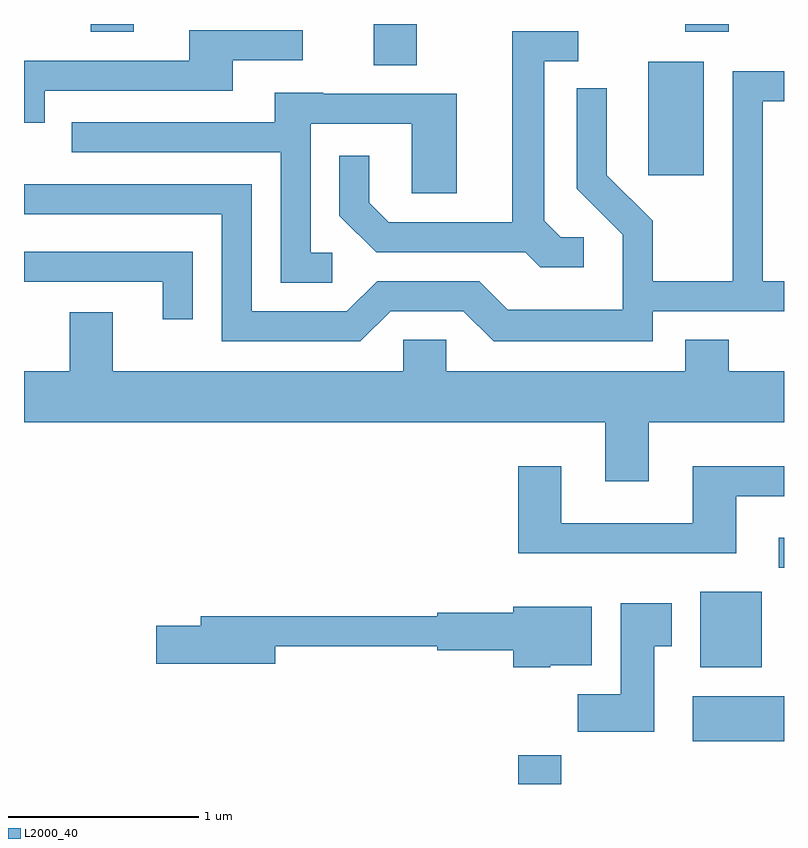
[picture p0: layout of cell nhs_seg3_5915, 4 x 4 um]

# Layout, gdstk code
import gdstk
lib = gdstk.Library(unit=1e-6, precision=1e-09)
def R(c, l, rs):  # rectangles x0, y0, x1, y1
    for r in rs: c.add(gdstk.rectangle(r[:2], r[2:], *l))
def P(c, l, *ps):  # polygons
    for p in ps: c.add(gdstk.Polygon(p, *l))
L2000_40 = (2000, 40)

nhs_seg3_5915 = lib.new_cell('nhs_seg3_5915')
R(nhs_seg3_5915, L2000_40, [(362.211,1121.892,362.439,1122.044), (363.131,1122.116,363.611,1122.354), (363.171,1122.506,363.494,1122.904), (363.583,1123.031,363.611,1123.189), (362.896,1125.096,363.189,1125.694), (361.451,1125.676,361.679,1125.892), (359.961,1125.851,360.189,1125.892), (363.091,1125.851,363.319,1125.892)])
P(nhs_seg3_5915, L2000_40, [(359.719,1125.541),(360.709,1125.541),(360.709,1125.701),(361.078,1125.701),(361.078,1125.859),(360.481,1125.859),(360.481,1125.699),(359.611,1125.699),(359.611,1125.371),(359.719,1125.371)],
  [(362.558,1124.769),(362.437,1124.769),(362.349,1124.857),(362.349,1125.696),(362.528,1125.696),(362.528,1125.854),(362.181,1125.854),(362.181,1124.849),(361.532,1124.849),(361.429,1124.952),(361.429,1125.198),(361.271,1125.198),(361.271,1124.884),(361.464,1124.691),(362.249,1124.691),(362.329,1124.611),(362.558,1124.611)],
  [(361.542,1124.381),(361.924,1124.381),(362.084,1124.221),(362.919,1124.221),(362.919,1124.381),(363.611,1124.381),(363.611,1124.539),(363.499,1124.539),(363.499,1125.486),(363.611,1125.486),(363.611,1125.644),(363.341,1125.644),(363.341,1124.539),(362.919,1124.539),(362.919,1124.857),(362.679,1125.097),(362.679,1125.553),(362.521,1125.553),(362.521,1125.024),(362.761,1124.784),(362.761,1124.389),(362.157,1124.389),(362.007,1124.539),(361.469,1124.539),(361.309,1124.379),(360.809,1124.379),(360.809,1125.049),(359.611,1125.049),(359.611,1124.891),(360.651,1124.891),(360.651,1124.221),(361.382,1124.221)],
  [(361.233,1124.689),(361.119,1124.689),(361.119,1125.366),(361.651,1125.366),(361.651,1125.001),(361.889,1125.001),(361.889,1125.524),(361.185,1125.524),(361.185,1125.529),(360.931,1125.529),(360.931,1125.374),(359.863,1125.374),(359.863,1125.216),(360.961,1125.216),(360.961,1124.531),(361.233,1124.531)],
  [(360.499,1124.694),(359.611,1124.694),(359.611,1124.536),(360.341,1124.536),(360.341,1124.338),(360.499,1124.338)],
  [(362.899,1123.796),(363.611,1123.796),(363.611,1124.064),(363.319,1124.064),(363.319,1124.229),(363.091,1124.229),(363.091,1124.064),(361.834,1124.064),(361.834,1124.229),(361.606,1124.229),(361.606,1124.064),(360.079,1124.064),(360.079,1124.374),(359.851,1124.374),(359.851,1124.064),(359.611,1124.064),(359.611,1123.796),(362.671,1123.796),(362.671,1123.486),(362.899,1123.486)],
  [(363.359,1123.406),(363.611,1123.406),(363.611,1123.564),(363.131,1123.564),(363.131,1123.264),(362.439,1123.264),(362.439,1123.564),(362.211,1123.564),(362.211,1123.106),(363.359,1123.106)],
  [(362.929,1122.616),(363.019,1122.616),(363.019,1122.844),(362.751,1122.844),(362.751,1122.364),(362.526,1122.364),(362.526,1122.166),(362.929,1122.166)],
  [(362.38,1122.516),(362.599,1122.516),(362.599,1122.824),(362.186,1122.824),(362.186,1122.794),(361.786,1122.794),(361.786,1122.774),(360.541,1122.774),(360.541,1122.724),(360.306,1122.724),(360.306,1122.526),(360.934,1122.526),(360.934,1122.616),(361.786,1122.616),(361.786,1122.596),(362.186,1122.596),(362.186,1122.506),(362.38,1122.506)])

lib.write_gds('nhs_seg3_5915.gds')
